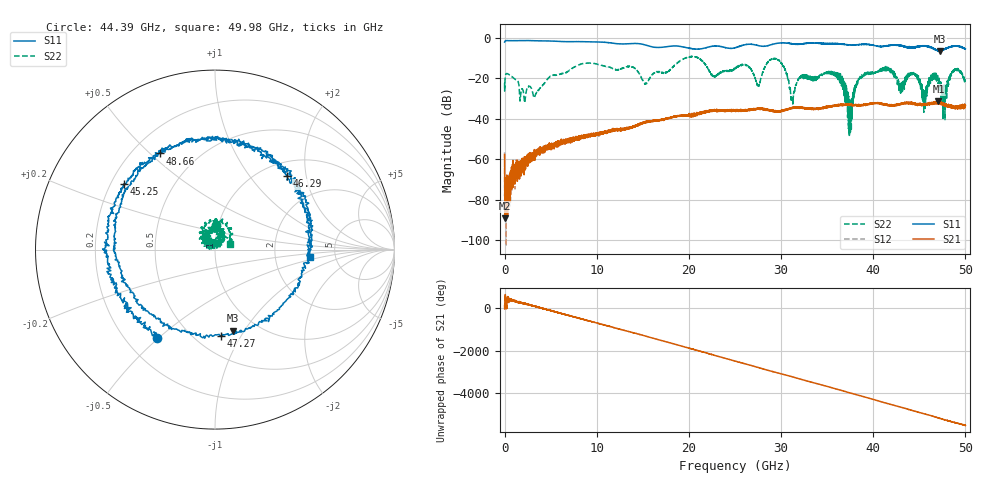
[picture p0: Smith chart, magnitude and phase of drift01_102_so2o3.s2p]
!Created with skrf (http://scikit-rf.org).
# Hz S RI R 50.0
!freq ReS11 ImS11 ReS21 ImS21 ReS12 ImS12 ReS22 ImS22
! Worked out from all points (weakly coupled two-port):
!   10001 points, 300 kHz to 50 GHz, reference 50 ohm
!   highest |S21| = -31.33 dB at 47.07 GHz (marker M1); lowest = -89.0 dB at 75.3 MHz (marker M2)
!   lowest |S11| = -6.7 dB at 47.22 GHz (marker M3), VSWR 2.72, Z = 38.8 - j44.5 ohm
!   |S11| at or under -10 dB: nowhere
!   |S22| runs from -48.2 to -9.2 dB; largest |S21 - S12| = 0.0038
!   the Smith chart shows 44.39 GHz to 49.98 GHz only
!   S11 on the Smith chart (normalised r, x): 44.39 GHz: 0.33, -0.50; 45.25 GHz: 0.25, +0.31; 46.29 GHz: 1.28, +1.56; 47.27 GHz: 0.66, -0.83; 48.66 GHz: 0.31, +0.54; 49.98 GHz: 3.20, -0.36
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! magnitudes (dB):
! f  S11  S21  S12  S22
! 300 kHz  -2.1  -57.7  -56.5  -22.3
! 75.3 MHz  -1.5  -89.0  -82.5  -19.0
! 3.295 GHz  -1.5  -56.3  -57.2  -28.7
! 8.335 GHz  -1.9  -49.1  -48.2  -12.9
! 16.67 GHz  -4.8  -41.0  -40.7  -16.7
! 25 GHz  -5.0  -35.7  -35.9  -15.4
! 29.59 GHz  -2.8  -36.3  -36.3  -10.6
! 31.24 GHz  -3.0  -34.6  -34.5  -31.5
! 33.34 GHz  -2.6  -35.0  -35.2  -20.2
! 36.08 GHz  -3.0  -33.2  -33.3  -18.5
! 37.47 GHz  -3.6  -33.1  -32.9  -31.6
! 38.65 GHz  -3.3  -33.5  -33.4  -20.1
! 41.67 GHz  -3.9  -33.3  -33.4  -15.3
! 44.39 GHz  -4.6  -32.5  -32.8  -17.4
! 45.25 GHz  -4.1  -32.8  -33.0  -22.9
! 46.29 GHz  -4.8  -32.1  -32.3  -19.1
! 47.07 GHz  -6.3  -31.3  -31.7  -22.6
! 47.22 GHz  -6.7  -32.3  -31.9  -25.0
! 47.27 GHz  -6.3  -31.9  -32.2  -23.3
! 48.66 GHz  -4.2  -34.1  -34.2  -16.6
! 49.98 GHz  -5.5  -33.4  -33.1  -21.0
! 50 GHz  -5.6  -33.4  -33.6  -21.9
